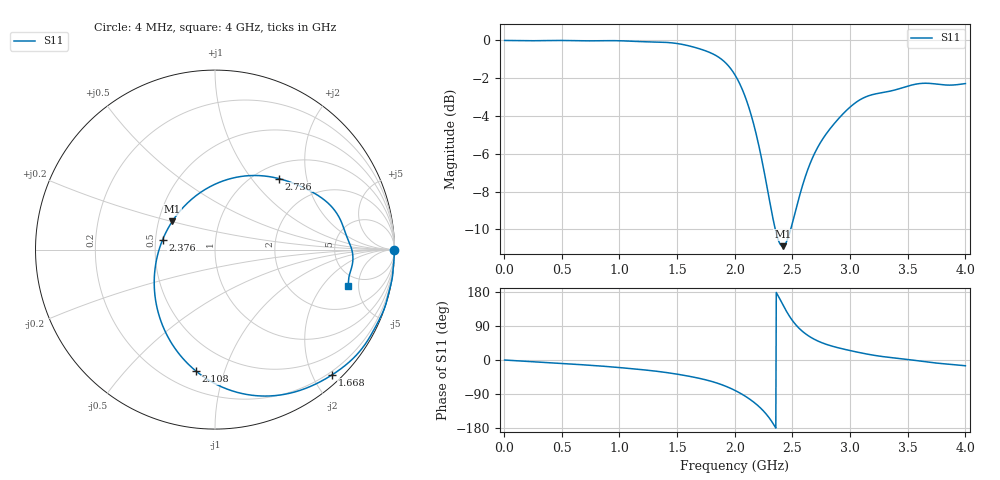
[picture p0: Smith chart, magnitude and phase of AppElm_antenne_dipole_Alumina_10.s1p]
! TOUCHSTONE file generated by CST MICROWAVE STUDIO
! Date and time: Sat May 14 10:20:47 2022
! Project name: AppElm_antenne_dipole_Alumina.cst
! Parameters = {L=33; e=0.035; f=2.45e+09; h=1.6; i=0.8; l1=2.4; lambda=122.449; ls=30; wl=1.7; ws=80}
! Header version: 2018
! Port assignment regex: !\s*Touchstone port\s*([0-9]+)\s*=\s*(CST MWS port|CST DS port)\s*([0-9]+|Zmin|Zmax)\s*\(\"(.*)\"\)(\s*mode\s*([0-9]+))?.*
! Touchstone port assignment:
! Touchstone port 1 = CST MWS port 1 ("")
# GHz S MA R 50
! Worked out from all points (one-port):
!   1000 points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, 4 MHz to 4 GHz, reference 50 ohm
!   lowest |S11| = -10.9 dB at 2.416 GHz (marker M1), VSWR 1.80, Z = 29.5 + j10.1 ohm
!   |S11| at or under -10 dB: 2.351 GHz to 2.485 GHz (133.4 MHz wide, 5.52 % of centre)
!   S11 on the Smith chart (normalised r, x): 4 MHz: open; 1.668 GHz: 0.14, -2.30; 2.108 GHz: 0.32, -0.81; 2.376 GHz: 0.55, +0.07; 2.736 GHz: 1.26, +1.39; 4 GHz: 3.81, -3.76
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0.004  1 -0.1
0.504  0.9999 -9.1
1.004  0.9981 -20.1
1.312  0.9906 -29.3
1.504  0.9811 -37.6
1.668  0.9558 -46.8
1.764  0.9344 -53.6
1.844  0.9095 -60.7
1.932  0.8653 -70.5
2.004  0.8084 -80.6
2.056  0.753 -89.1
2.108  0.6852 -98.9
2.184  0.5678 -116.0
2.248  0.4607 -134.3
2.312  0.3622 -158.4
2.376  0.2972 169.4
2.416  0.2854 146.5
2.456  0.2969 124.5
2.504  0.3323 102.5
2.552  0.3782 85.5
2.604  0.4287 71.4
2.736  0.5322 48.0
2.852  0.597 35.9
3.004  0.6679 24.6
3.18  0.7169 13.8
3.504  0.7575 1.2
3.732  0.7676 -7.6
4  0.7689 -15.2
